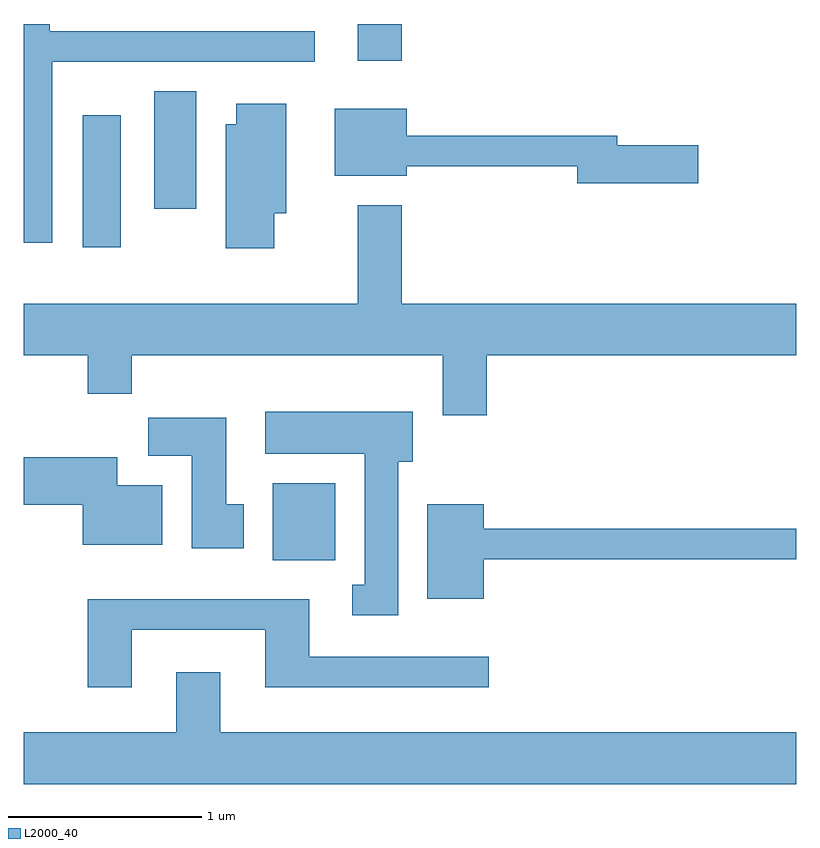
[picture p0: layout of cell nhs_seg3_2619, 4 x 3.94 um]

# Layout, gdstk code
import gdstk
lib = gdstk.Library(unit=1e-6, precision=1e-09)
def R(c, l, rs):  # rectangles x0, y0, x1, y1
    for r in rs: c.add(gdstk.rectangle(r[:2], r[2:], *l))
def P(c, l, *ps):  # polygons
    for p in ps: c.add(gdstk.Polygon(p, *l))
L2000_40 = (2000, 40)

nhs_seg3_2619 = lib.new_cell('nhs_seg3_2619')
R(nhs_seg3_2619, L2000_40, [(262.901,1187.116,263.224,1187.514), (261.916,1188.736,262.114,1189.419), (262.286,1188.936,262.504,1189.544), (263.341,1189.701,263.569,1189.892)])
P(nhs_seg3_2619, L2000_40, [(261.759,1189.696),(263.118,1189.696),(263.118,1189.854),(261.744,1189.854),(261.744,1189.892),(261.611,1189.892),(261.611,1188.758),(261.759,1188.758)],
  [(262.909,1188.911),(262.969,1188.911),(262.969,1189.479),(262.711,1189.479),(262.711,1189.374),(262.656,1189.374),(262.656,1188.731),(262.909,1188.731)],
  [(265.104,1189.264),(264.684,1189.264),(264.684,1189.314),(263.594,1189.314),(263.594,1189.454),(263.221,1189.454),(263.221,1189.106),(263.594,1189.106),(263.594,1189.156),(264.476,1189.156),(264.476,1189.066),(265.104,1189.066)],
  [(264.009,1188.176),(265.611,1188.176),(265.611,1188.444),(263.569,1188.444),(263.569,1188.954),(263.341,1188.954),(263.341,1188.444),(261.611,1188.444),(261.611,1188.176),(261.941,1188.176),(261.941,1187.976),(262.169,1187.976),(262.169,1188.176),(263.781,1188.176),(263.781,1187.866),(264.009,1187.866)],
  [(263.549,1187.626),(263.624,1187.626),(263.624,1187.884),(262.861,1187.884),(262.861,1187.666),(263.376,1187.666),(263.376,1186.989),(263.313,1186.989),(263.313,1186.831),(263.549,1186.831)],
  [(262.749,1187.404),(262.659,1187.404),(262.659,1187.854),(262.256,1187.854),(262.256,1187.656),(262.481,1187.656),(262.481,1187.176),(262.749,1187.176)],
  [(262.329,1187.504),(262.094,1187.504),(262.094,1187.649),(261.611,1187.649),(261.611,1187.401),(261.916,1187.401),(261.916,1187.196),(262.329,1187.196)],
  [(263.994,1187.121),(265.611,1187.121),(265.611,1187.279),(263.994,1187.279),(263.994,1187.404),(263.701,1187.404),(263.701,1186.916),(263.994,1186.916)],
  [(262.169,1186.756),(262.861,1186.756),(262.861,1186.456),(264.018,1186.456),(264.018,1186.614),(263.089,1186.614),(263.089,1186.914),(261.941,1186.914),(261.941,1186.456),(262.169,1186.456)],
  [(265.611,1186.224),(262.629,1186.224),(262.629,1186.534),(262.401,1186.534),(262.401,1186.224),(261.611,1186.224),(261.611,1185.956),(265.611,1185.956)])

lib.write_gds('nhs_seg3_2619.gds')
